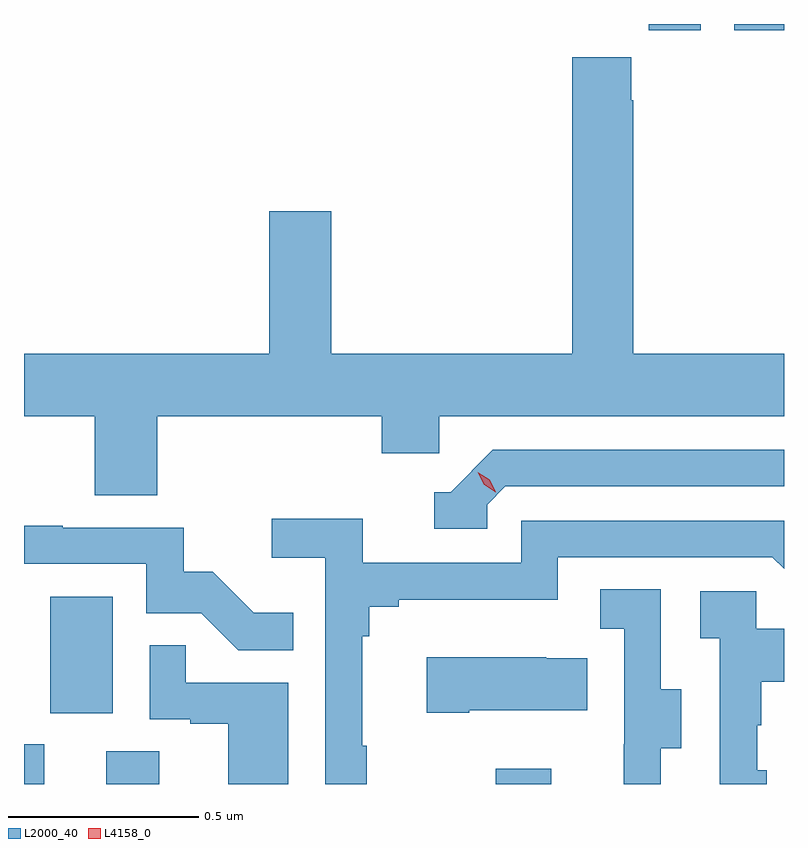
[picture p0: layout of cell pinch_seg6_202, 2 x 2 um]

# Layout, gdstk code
import gdstk
lib = gdstk.Library(unit=1e-6, precision=1e-09)
def R(c, l, rs):  # rectangles x0, y0, x1, y1
    for r in rs: c.add(gdstk.rectangle(r[:2], r[2:], *l))
def P(c, l, *ps):  # polygons
    for p in ps: c.add(gdstk.Polygon(p, *l))
L2000_40 = (2000, 40)
L4158_0 = (4158, 0)

pinch_seg6_202 = lib.new_cell('pinch_seg6_202')
R(pinch_seg6_202, L2000_40, [(1027.499,934.38,1027.552,934.485), (1027.715,934.38,1027.855,934.466), (1028.74,934.38,1028.887,934.42), (1027.568,934.566,1027.732,934.873), (1029.143,936.363,1029.28,936.38), (1029.368,936.363,1029.499,936.38)])
P(pinch_seg6_202, L2000_40, [(1027.85,935.348),(1028.441,935.348),(1028.441,935.25),(1028.592,935.25),(1028.592,935.348),(1029.499,935.348),(1029.499,935.512),(1029.102,935.512),(1029.102,936.179),(1029.097,936.179),(1029.097,936.292),(1028.942,936.292),(1028.942,935.512),(1028.308,935.512),(1028.308,935.887),(1028.144,935.887),(1028.144,935.512),(1027.499,935.512),(1027.499,935.348),(1027.685,935.348),(1027.685,935.14),(1027.85,935.14)],
  [(1028.718,935.115),(1028.766,935.163),(1029.499,935.163),(1029.499,935.259),(1028.733,935.259),(1028.622,935.148),(1028.579,935.148),(1028.579,935.052),(1028.718,935.052)],
  [(1028.401,934.481),(1028.389,934.481),(1028.389,934.769),(1028.408,934.769),(1028.408,934.846),(1028.485,934.846),(1028.485,934.865),(1028.904,934.865),(1028.904,934.977),(1029.468,934.977),(1029.499,934.946),(1029.499,935.073),(1028.808,935.073),(1028.808,934.962),(1028.39,934.962),(1028.39,935.078),(1028.151,935.078),(1028.151,934.976),(1028.292,934.976),(1028.292,934.38),(1028.401,934.38)],
  [(1028.207,934.831),(1028.103,934.831),(1027.996,934.938),(1027.92,934.938),(1027.92,935.055),(1027.601,935.055),(1027.601,935.06),(1027.499,935.06),(1027.499,934.959),(1027.821,934.959),(1027.821,934.83),(1027.965,934.83),(1028.063,934.732),(1028.207,934.732)],
  [(1029.175,934.474),(1029.229,934.474),(1029.229,934.629),(1029.174,934.629),(1029.174,934.892),(1029.015,934.892),(1029.015,934.789),(1029.078,934.789),(1029.078,934.485),(1029.077,934.485),(1029.077,934.38),(1029.175,934.38)],
  [(1029.454,934.416),(1029.429,934.416),(1029.429,934.535),(1029.439,934.535),(1029.439,934.649),(1029.499,934.649),(1029.499,934.789),(1029.426,934.789),(1029.426,934.887),(1029.279,934.887),(1029.279,934.763),(1029.33,934.763),(1029.33,934.38),(1029.454,934.38)],
  [(1028.194,934.647),(1027.925,934.647),(1027.925,934.745),(1027.83,934.745),(1027.83,934.551),(1027.937,934.551),(1027.937,934.539),(1028.036,934.539),(1028.036,934.38),(1028.194,934.38)],
  [(1028.671,934.574),(1028.981,934.574),(1028.981,934.711),(1028.873,934.711),(1028.873,934.714),(1028.559,934.714),(1028.559,934.567),(1028.671,934.567)])
P(pinch_seg6_202, L4158_0, [(1028.741,935.148),(1028.71,935.167),(1028.693,935.2),(1028.693,935.2),(1028.693,935.2),(1028.724,935.181),(1028.741,935.148),(1028.741,935.148)])

lib.write_gds('pinch_seg6_202.gds')
